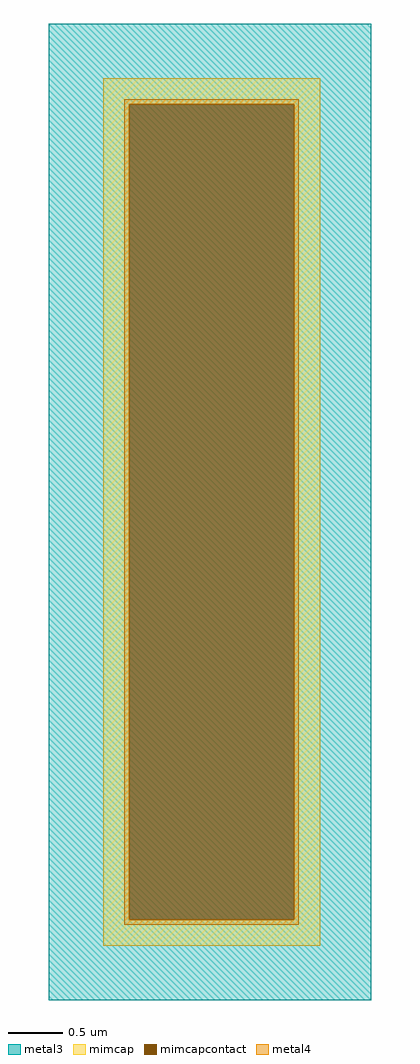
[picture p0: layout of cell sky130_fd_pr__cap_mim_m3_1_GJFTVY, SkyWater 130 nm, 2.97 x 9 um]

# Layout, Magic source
magic
tech sky130A
magscale 1 2
<< metal3 >>
rect -350 -900 244 900
<< mimcap >>
rect -250 752 150 800
rect -250 -752 -202 752
rect 102 -752 150 752
rect -250 -800 150 -752
<< mimcapcontact >>
rect -202 -752 102 752
<< metal4 >>
rect -211 752 111 761
rect -211 -752 -202 752
rect 102 -752 111 752
rect -211 -761 111 -752
<< properties >>
string FIXED_BBOX -350 -900 250 900
<< end >>
